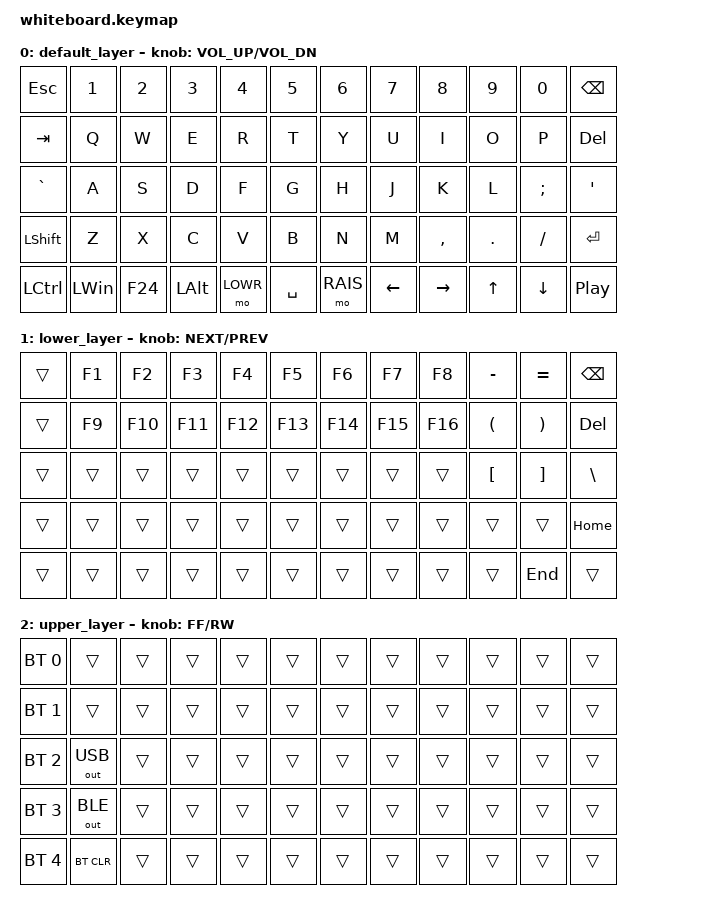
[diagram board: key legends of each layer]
#include <behaviors.dtsi>
#include <dt-bindings/zmk/keys.h>
#include <dt-bindings/zmk/bt.h>
#include <dt-bindings/zmk/outputs.h>

#define DFLT 0
#define LOWR 1
#define RAIS 2

&left_encoder {
    status = "okay";
};

/ {
    sensors {
		compatible = "zmk,keymap-sensors";
		sensors = <&left_encoder>;
		triggers-per-rotation = <20>;
	};

    keymap {
        compatible = "zmk,keymap";

        default_layer {

            bindings = <

                &kp ESC   &kp N1   &kp N2   &kp N3   &kp N4   &kp N5   &kp N6    &kp N7   &kp N8    &kp N9    &kp N0   &kp BSPC
                &kp TAB   &kp Q    &kp W    &kp E    &kp R    &kp T    &kp Y     &kp U    &kp I     &kp O     &kp P    &kp DEL
                &kp GRAVE &kp A    &kp S    &kp D    &kp F    &kp G    &kp H     &kp J    &kp K     &kp L     &kp SEMI &kp SQT
                &kp LSHFT &kp Z    &kp X    &kp C    &kp V    &kp B    &kp N     &kp M    &kp COMMA &kp DOT   &kp FSLH &kp ENTER
                &kp LCTRL &kp LWIN &kp F24  &kp LALT &mo LOWR &kp SPACE &mo RAIS &kp LEFT  &kp RIGHT &kp UP   &kp DOWN &kp C_PP

            >;

            sensor-bindings = <&inc_dec_kp C_VOL_UP C_VOL_DN>;
        };

        lower_layer {

            bindings = <

                &trans  &kp F1  &kp F2  &kp F3  &kp F4  &kp F5  &kp F6  &kp F7  &kp F8  &kp MINUS &kp EQUAL &kp BSPC
                &trans  &kp F9  &kp F10 &kp F11 &kp F12 &kp F13 &kp F14 &kp F15 &kp F16 &kp LPAR  &kp RPAR  &kp DEL
                &trans  &trans  &trans  &trans  &trans  &trans  &trans  &trans  &trans  &kp LBKT  &kp RBKT  &kp BSLH
                &trans  &trans  &trans  &trans  &trans  &trans  &trans  &trans  &trans  &trans    &trans    &kp HOME
                &trans  &trans  &trans  &trans  &trans  &trans  &trans  &trans  &trans  &trans    &kp END   &trans

            >;

            sensor-bindings = <&inc_dec_kp C_NEXT C_PREV>;
        };

        upper_layer {

            bindings = <

                &bt BT_SEL 0  &trans        &trans  &trans  &trans  &trans  &trans  &trans  &trans  &trans  &trans  &trans
                &bt BT_SEL 1  &trans        &trans  &trans  &trans  &trans  &trans  &trans  &trans  &trans  &trans  &trans
                &bt BT_SEL 2  &out OUT_USB  &trans  &trans  &trans  &trans  &trans  &trans  &trans  &trans  &trans  &trans
                &bt BT_SEL 3  &out OUT_BLE  &trans  &trans  &trans  &trans  &trans  &trans  &trans  &trans  &trans  &trans
                &bt BT_SEL 4  &bt BT_CLR    &trans  &trans  &trans  &trans  &trans  &trans  &trans  &trans  &trans  &trans
                
            >;

            sensor-bindings = <&inc_dec_kp C_FF C_RW>;
        };

    };
};
